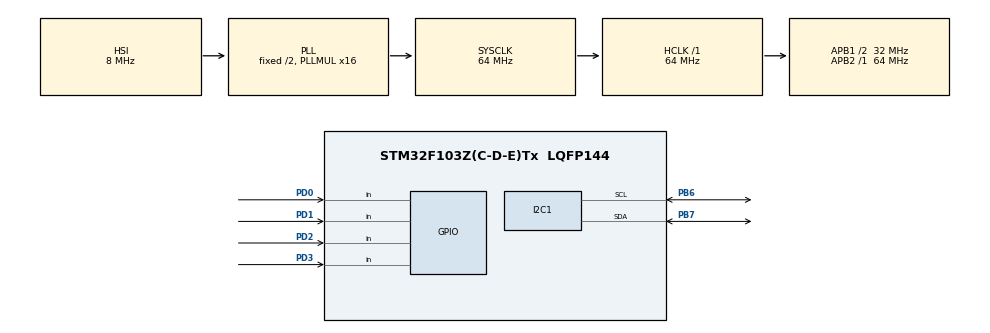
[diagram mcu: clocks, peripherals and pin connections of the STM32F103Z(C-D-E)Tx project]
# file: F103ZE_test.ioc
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I2C1.I2C_Mode=I2C_Fast
Mcu.Family=STM32F1
Mcu.Name=STM32F103Z(C-D-E)Tx
Mcu.Package=LQFP144
NVIC.PriorityGroup=NVIC_PRIORITYGROUP_4
NVIC.TIM2_IRQn=true\:0\:0\:false\:false\:true\:true\:true\:true
PB6.Mode=I2C
PB6.Signal=I2C1_SCL
PB7.Mode=I2C
PB7.Signal=I2C1_SDA
PD0.GPIO_PuPd=GPIO_PULLUP
PD0.Signal=GPIO_Input
PD1.GPIO_PuPd=GPIO_PULLUP
PD1.Signal=GPIO_Input
PD2.GPIO_PuPd=GPIO_PULLUP
PD2.Signal=GPIO_Input
PD3.GPIO_PuPd=GPIO_PULLUP
PD3.Signal=GPIO_Input
ProjectManager.HeapSize=0x200
ProjectManager.StackSize=0x400
ProjectManager.TargetToolchain=MDK-ARM V5.32
RCC.AHBFreq_Value=64000000
RCC.APB1CLKDivider=RCC_HCLK_DIV2
RCC.APB1Freq_Value=32000000
RCC.APB1TimFreq_Value=64000000
RCC.APB2Freq_Value=64000000
RCC.APB2TimFreq_Value=64000000
RCC.HCLKFreq_Value=64000000
RCC.PLLMUL=RCC_PLL_MUL16
RCC.SYSCLKFreq_VALUE=64000000
RCC.SYSCLKSource=RCC_SYSCLKSOURCE_PLLCLK
RCC.USBFreq_Value=64000000
TIM2.AutoReloadPreload=TIM_AUTORELOAD_PRELOAD_ENABLE
TIM2.Period=100
TIM2.Prescaler=3200 - 1
VP_SYS_VS_ND.Mode=No_Debug
VP_TIM2_VS_ClockSourceINT.Mode=Internal
board=custom

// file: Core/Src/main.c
/* USER CODE BEGIN Header */
/**
 ******************************************************************************
 * @file           : main.c
 * @brief          : Main program body
 ******************************************************************************
 * @attention
 *
 * Copyright (c) 2025 STMicroelectronics.
 * All rights reserved.
 *
 * This software is licensed under terms that can be found in the LICENSE file
 * in the root directory of this software component.
 * If no LICENSE file comes with this software, it is provided AS-IS.
 *
 ******************************************************************************
 */
/* USER CODE END Header */
#include "main.h"

#include "gpio.h"
#include "i2c.h"
#include "tim.h"

/* USER CODE BEGIN Includes */

#include "button/button.h"
#include "menu_nest/menu.h"
#include "menu_nest_tiny/item_auto_variable.h"
#include "menu_nest_tiny/item_cstr.h"
#include "menu_nest_tiny/item_page_entrance.h"
#include "menu_nest_tiny/item_static_variable.h"
#include "menu_nest_tiny/page_base.h"
#include "menu_nest_tiny/page_hibernate.h"
#include "ssd1306/ssd1306.h"
#include "ssd1306/ssd1306_fonts.h"
#include "ssd1306/ssd1306_tests.h"

/* USER CODE END Includes */

/* USER CODE BEGIN PTD */
/**
 * ************************************************************************
 * 说明：为了演示方便，这里的很多代码是直接写在了main.c中。
 */

/* USER CODE END PTD */

void SystemClock_Config(void);

/* USER CODE BEGIN 0 */

// 这里是菜单的构建过程。
// 不一定要将所有的构建全部放到一个函数中，也可以分开构建。例如在某模块的初始化函数中构建该模块的部分。
void menu_init() {
    MN_page *p_main_page = create_base_page("mainPage");

    // 页面1
    MN_page *p_int_page = create_base_page("page1");

    // 页面1的跳转入口
    MN_item *p_int_page_entrance = create_item_page_entrance("en_pageInts", p_int_page);

    // 将页面1的跳转入口添加到主页面中
    MN_page_add_item(p_main_page, p_int_page_entrance);

    // 下面是一些静态变量的item被添加到页面1中
    // 这里不一定必须是静态变量，也可以是全局变量。核心是变量的生命周期要大于菜单的生命周期。
    static int8_t varI8 = 6;
    // 创建item
    MN_item *p_var_i8 = create_item_static_variable("int8", &varI8, TYPE_I8);
    // 将item添加到页面1中
    MN_page_add_item(p_int_page, p_var_i8);

    static int16_t varI16 = 666;
    MN_item *p_var_i16 = create_item_static_variable("int16", &varI16, TYPE_I16);
    MN_page_add_item(p_int_page, p_var_i16);

    static int32_t varI32 = 666;
    MN_item *p_var_i32 = create_item_static_variable("int32", &varI32, TYPE_I32);
    MN_page_add_item(p_int_page, p_var_i32);

    static int64_t varI64 = 666;
    MN_item *p_var_i64 = create_item_static_variable("int64", &varI64, TYPE_I64);
    MN_page_add_item(p_int_page, p_var_i64);

    // uint页面
    MN_page *p_uint_page = create_base_page("page_uint");

    // uint页面的跳转入口
    MN_item *p_uint_page_entrance = create_item_page_entrance("en_pageUints", p_uint_page);
    // 将uint页面的跳转入口添加到主页面中
    MN_page_add_item(p_main_page, p_uint_page_entrance);

    static uint8_t varU8 = 6;
    MN_item *p_var_u8 = create_item_static_variable("uint8", &varU8, TYPE_U8);
    MN_page_add_item(p_uint_page, p_var_u8);

    static uint16_t varU16 = 666;
    MN_item *p_var_u16 = create_item_static_variable("uint16", &varU16, TYPE_U16);
    MN_page_add_item(p_uint_page, p_var_u16);

    static uint32_t varU32 = 666;
    MN_item *p_var_u32 = create_item_static_variable("uint32", &varU32, TYPE_U32);
    MN_page_add_item(p_uint_page, p_var_u32);

    static uint64_t varU64 = 666;
    MN_item *p_var_u64 = create_item_static_variable("uint64", &varU64, TYPE_U64);
    MN_page_add_item(p_uint_page, p_var_u64);

    // 页面3，有float和bool以及cstr
    MN_page *p_float_page = create_base_page("page_flt");
    MN_item *p_flt_page_entrance = create_item_page_entrance("en_pageFloats", p_float_page);
    MN_page_add_item(p_main_page, p_flt_page_entrance);

    static float varF32 = 3.1415926f;
    MN_item *p_var_f32 = create_item_static_variable("f32", &varF32, TYPE_F32);
    MN_page_add_item(p_float_page, p_var_f32);
    MN_page_add_item(p_main_page, p_var_f32);

    static double varF64 = 123.45678912345;
    MN_item *p_var_f64 = create_item_static_variable("f64", &varF64, TYPE_F64);
    MN_page_add_item(p_float_page, p_var_f64);
    MN_page_add_item(p_main_page, p_var_f64);

    static bool varBool = true;
    MN_item *p_var_bool = create_item_static_variable("bool", &varBool, TYPE_BOOL);
    MN_page_add_item(p_float_page, p_var_bool);
    MN_page_add_item(p_main_page, p_var_bool);

    static char *str = "Im a cstr 1 22 333 4444 55555 666666 !";
    MN_item *p_var_cstr = create_item_static_variable("cstr", str, TYPE_CSTR);
    MN_page_add_item(p_float_page, p_var_cstr);
    MN_page_add_item(p_main_page, p_var_cstr);

    // 初始化菜单，并且指定主页面
    MN_menu_init(p_main_page);
}

// 这些是按键库的回调，要求按键按下时返回1，松开时返回0
static uint8_t query_func_0() {
    return !HAL_GPIO_ReadPin(GPIOD, GPIO_PIN_0);
}
static uint8_t query_func_1() {
    return !HAL_GPIO_ReadPin(GPIOD, GPIO_PIN_1);
}
static uint8_t query_func_2() {
    return !HAL_GPIO_ReadPin(GPIOD, GPIO_PIN_2);
}
static uint8_t query_func_3() {
    return !HAL_GPIO_ReadPin(GPIOD, GPIO_PIN_3);
}

#include "menu_nest_tiny/input_def.h"

// 这些是按键的事件处理回调函数，在这里是向菜单输入事件
static void button_click_event_0() {
    MN_menu_input(BUTTON_0_CLICK);
}
static void button_click_event_1() {
    MN_menu_input(BUTTON_1_CLICK);
}
static void button_click_event_2() {
    MN_menu_input(BUTTON_2_CLICK);
}
static void button_click_event_3() {
    MN_menu_input(BUTTON_3_CLICK);
}

static void button_long_press_event_0() {
    MN_menu_input(BUTTON_0_LONG_PRESS);
}

static void button_long_press_event_1() {
    MN_menu_input(BUTTON_1_LONG_PRESS);
}

// 这里是按键库的接口对接
void button_config() {
    set_button_query_func(0, query_func_0);
    set_button_query_func(1, query_func_1);
    set_button_query_func(2, query_func_2);
    set_button_query_func(3, query_func_3);

    set_button_event_func(0, CLICK, button_click_event_0);
    set_button_event_func(1, CLICK, button_click_event_1);
    set_button_event_func(2, CLICK, button_click_event_2);
    set_button_event_func(3, CLICK, button_click_event_3);

    set_button_event_func(0, LONG_TOUCH, button_long_press_event_0);
    set_button_event_func(1, LONG_TOUCH, button_long_press_event_1);
}
/* USER CODE END 0 */

int main(void) {

    /* MCU Configuration--------------------------------------------------------*/

    /* Reset of all peripherals, Initializes the Flash interface and the Systick. */
    HAL_Init();

    /* Configure the system clock */
    SystemClock_Config();

    /* Initialize all configured peripherals */
    MX_GPIO_Init();
    MX_I2C1_Init();
    MX_TIM2_Init();
    /* USER CODE BEGIN 2 */
    button_init();        // 初始化按键库
    button_config();      // 配置按键的输入和事件处理
    menu_init();          // 初始化菜单
    ssd1306_Init();       // 初始化OLED
    ssd1306_Fill(Black);  // 清屏

    /*使能定时器中断*/
    HAL_TIM_Base_Start_IT(&htim2); // 用来处理按键的定时器

    /* USER CODE END 2 */

    /* Infinite loop */
    while (1) {

        /* USER CODE BEGIN 3 */
        MN_menu_handle_input_queue();  // 处理菜单的输入队列
        MN_menu_rendering();  // 渲染菜单
    }
    /* USER CODE END 3 */
}

void SystemClock_Config(void) {
    RCC_OscInitTypeDef RCC_OscInitStruct = {0};
    RCC_ClkInitTypeDef RCC_ClkInitStruct = {0};

    /** Initializes the RCC Oscillators according to the specified parameters
     * in the RCC_OscInitTypeDef structure.
     */
    RCC_OscInitStruct.OscillatorType = RCC_OSCILLATORTYPE_HSI;
    RCC_OscInitStruct.HSIState = RCC_HSI_ON;
    RCC_OscInitStruct.HSICalibrationValue = RCC_HSICALIBRATION_DEFAULT;
    RCC_OscInitStruct.PLL.PLLState = RCC_PLL_ON;
    RCC_OscInitStruct.PLL.PLLSource = RCC_PLLSOURCE_HSI_DIV2;
    RCC_OscInitStruct.PLL.PLLMUL = RCC_PLL_MUL16;
    if (HAL_RCC_OscConfig(&RCC_OscInitStruct) != HAL_OK) {
        Error_Handler();
    }

    /** Initializes the CPU, AHB and APB buses clocks
     */
    RCC_ClkInitStruct.ClockType = RCC_CLOCKTYPE_HCLK | RCC_CLOCKTYPE_SYSCLK | RCC_CLOCKTYPE_PCLK1 | RCC_CLOCKTYPE_PCLK2;
    RCC_ClkInitStruct.SYSCLKSource = RCC_SYSCLKSOURCE_PLLCLK;
    RCC_ClkInitStruct.AHBCLKDivider = RCC_SYSCLK_DIV1;
    RCC_ClkInitStruct.APB1CLKDivider = RCC_HCLK_DIV2;
    RCC_ClkInitStruct.APB2CLKDivider = RCC_HCLK_DIV1;

    if (HAL_RCC_ClockConfig(&RCC_ClkInitStruct, FLASH_LATENCY_2) != HAL_OK) {
        Error_Handler();
    }
}

/* USER CODE BEGIN 4 */
void HAL_TIM_PeriodElapsedCallback(TIM_HandleTypeDef *htim) {
    static unsigned char ledState = 0;
    if (htim == (&htim2)) {
        button_turn_query(); // 定时处理按键状态。
    }
}
/* USER CODE END 4 */

void Error_Handler(void) {
    __disable_irq();
    while (1) {
    }
}
